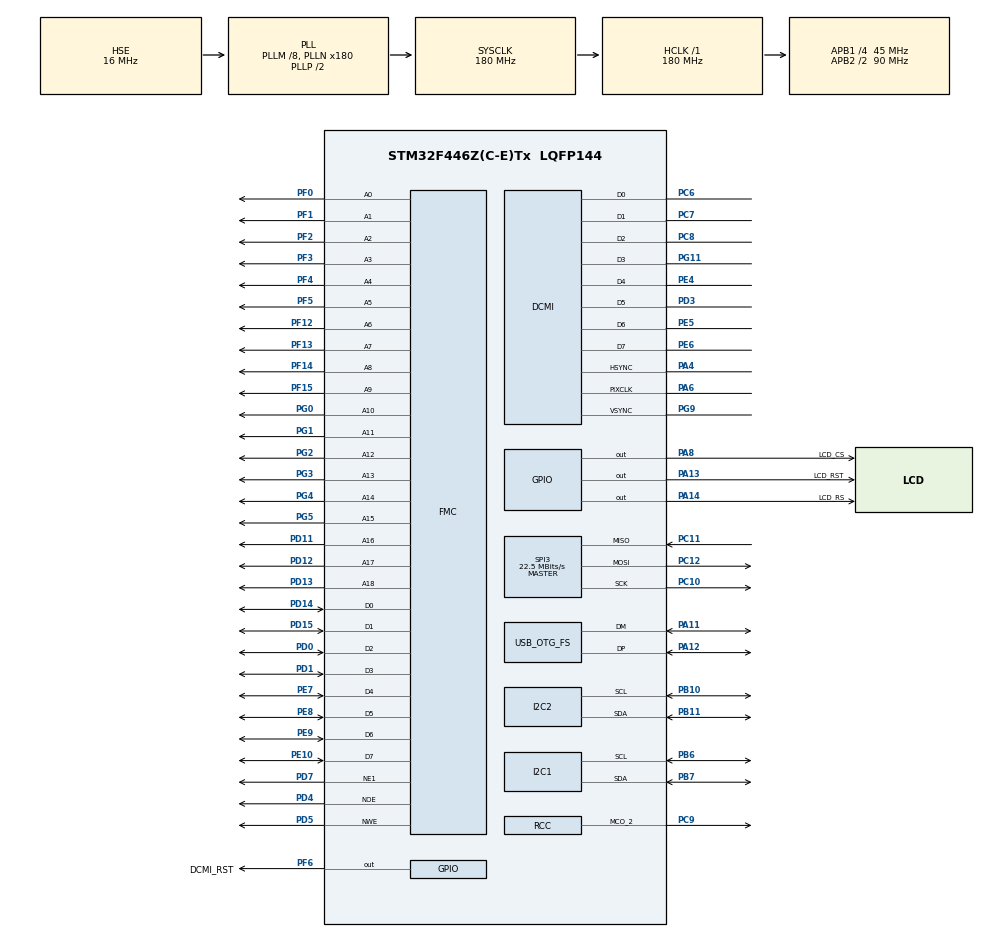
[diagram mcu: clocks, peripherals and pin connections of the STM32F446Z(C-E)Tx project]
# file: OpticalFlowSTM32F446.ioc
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DCMI.ByteSelectMode=DCMI_BSM_OTHER
DCMI.ByteSelectStart=DCMI_OEBS_EVEN
DCMI.HSPolarity=DCMI_HSPOLARITY_LOW
DCMI.JPEGMode=DCMI_JPEG_DISABLE
DCMI.LineSelectMode=DCMI_LSM_ALL
DCMI.PCKPolarity=DCMI_PCKPOLARITY_RISING
DCMI.VSPolarity=DCMI_VSPOLARITY_HIGH
Dma.DCMI.0.Direction=DMA_PERIPH_TO_MEMORY
Dma.DCMI.0.FIFOMode=DMA_FIFOMODE_ENABLE
Dma.DCMI.0.FIFOThreshold=DMA_FIFO_THRESHOLD_FULL
Dma.DCMI.0.Instance=DMA2_Stream1
Dma.DCMI.0.MemBurst=DMA_MBURST_INC4
Dma.DCMI.0.MemDataAlignment=DMA_MDATAALIGN_WORD
Dma.DCMI.0.MemInc=DMA_MINC_ENABLE
Dma.DCMI.0.Mode=DMA_CIRCULAR
Dma.DCMI.0.PeriphBurst=DMA_PBURST_SINGLE
Dma.DCMI.0.PeriphDataAlignment=DMA_PDATAALIGN_WORD
Dma.DCMI.0.PeriphInc=DMA_PINC_DISABLE
Dma.DCMI.0.Priority=DMA_PRIORITY_HIGH
Dma.Request0=DCMI
FMC.WriteOperation1=FMC_WRITE_OPERATION_ENABLE
I2C1.I2C_Mode=I2C_Standard
I2C2.I2C_Mode=I2C_Fast
I2C2.OwnAddress=0x58
Mcu.Family=STM32F4
Mcu.Name=STM32F446Z(C-E)Tx
Mcu.Package=LQFP144
NVIC.DCMI_IRQn=true\:0\:0\:false\:false\:true\:true\:true
NVIC.DMA2_Stream1_IRQn=true\:0\:0\:false\:false\:true\:false\:true
NVIC.I2C2_ER_IRQn=true\:0\:0\:false\:false\:true\:true\:true
NVIC.I2C2_EV_IRQn=true\:0\:0\:false\:false\:true\:true\:true
NVIC.OTG_FS_IRQn=true\:0\:0\:false\:false\:true\:false\:true
NVIC.PriorityGroup=NVIC_PRIORITYGROUP_4
NVIC.TIM4_IRQn=true\:0\:0\:false\:false\:true\:true\:true
PA11.Mode=Device_Only
PA11.Signal=USB_OTG_FS_DM
PA12.Mode=Device_Only
PA12.Signal=USB_OTG_FS_DP
PA13.GPIO_Label=LCD_RST
PA13.GPIO_ModeDefaultOutputPP=GPIO_MODE_OUTPUT_PP
PA13.PinState=GPIO_PIN_SET
PA13.Signal=GPIO_Output
PA14.GPIO_Label=LCD_RS
PA14.Signal=GPIO_Output
PA4.Mode=Slave_8_bits_External_Synchro
PA4.Signal=DCMI_HSYNC
PA6.Mode=Slave_8_bits_External_Synchro
PA6.Signal=DCMI_PIXCLK
PA8.GPIO_Label=LCD_CS
PA8.Signal=GPIO_Output
PB10.Mode=I2C
PB10.Signal=I2C2_SCL
PB11.Mode=I2C
PB11.Signal=I2C2_SDA
PB4.Signal=I2C3_SDA
PB6.Mode=I2C
PB6.Signal=I2C1_SCL
PB7.Mode=I2C
PB7.Signal=I2C1_SDA
PC10.Mode=Full_Duplex_Master
PC10.Signal=SPI3_SCK
PC11.Mode=Full_Duplex_Master
PC11.Signal=SPI3_MISO
PC12.Mode=Full_Duplex_Master
PC12.Signal=SPI3_MOSI
PC6.Mode=Slave_8_bits_External_Synchro
PC6.Signal=DCMI_D0
PC7.Mode=Slave_8_bits_External_Synchro
PC7.Signal=DCMI_D1
PC8.Mode=Slave_8_bits_External_Synchro
PC8.Signal=DCMI_D2
PC9.Mode=Clock-out-2
PC9.Signal=RCC_MCO_2
PD0.Signal=FMC_D2_DA2
PD1.Signal=FMC_D3_DA3
PD11.Signal=FMC_A16_CLE
PD12.Signal=FMC_A17_ALE
PD13.Signal=FMC_A18
PD14.Signal=FMC_D0_DA0
PD15.Signal=FMC_D1_DA1
PD3.Mode=Slave_8_bits_External_Synchro
PD3.Signal=DCMI_D5
PD4.Signal=FMC_NOE
PD5.Signal=FMC_NWE
PD7.Mode=NorPsramChipSelect1_1
PD7.Signal=FMC_NE1
PE10.Signal=FMC_D7_DA7
PE4.Mode=Slave_8_bits_External_Synchro
PE4.Signal=DCMI_D4
PE5.Mode=Slave_8_bits_External_Synchro
PE5.Signal=DCMI_D6
PE6.Mode=Slave_8_bits_External_Synchro
PE6.Signal=DCMI_D7
PE7.Signal=FMC_D4_DA4
PE8.Signal=FMC_D5_DA5
PE9.Signal=FMC_D6_DA6
PF0.Signal=FMC_A0
PF1.Signal=FMC_A1
PF12.Signal=FMC_A6
PF13.Signal=FMC_A7
PF14.Signal=FMC_A8
PF15.Signal=FMC_A9
PF2.Signal=FMC_A2
PF3.Signal=FMC_A3
PF4.Signal=FMC_A4
PF5.Signal=FMC_A5
PF6.GPIO_Label=DCMI_RST
PF6.Signal=GPIO_Output
PG0.Signal=FMC_A10
PG1.Signal=FMC_A11
PG11.Mode=Slave_8_bits_External_Synchro
PG11.Signal=DCMI_D3
PG2.Signal=FMC_A12
PG3.Signal=FMC_A13
PG4.Signal=FMC_A14_BA0
PG5.Signal=FMC_A15_BA1
PG9.Mode=Slave_8_bits_External_Synchro
PG9.Signal=DCMI_VSYNC
PH0-OSC_IN.Mode=HSE-External-Oscillator
PH0-OSC_IN.Signal=RCC_OSC_IN
PH1-OSC_OUT.Mode=HSE-External-Oscillator
PH1-OSC_OUT.Signal=RCC_OSC_OUT
ProjectManager.HeapSize=0x400
ProjectManager.StackSize=0x400
ProjectManager.TargetToolchain=STM32CubeIDE
RCC.AHBFreq_Value=180000000
RCC.APB1CLKDivider=RCC_HCLK_DIV4
RCC.APB1Freq_Value=45000000
RCC.APB1TimFreq_Value=90000000
RCC.APB2CLKDivider=RCC_HCLK_DIV2
RCC.APB2Freq_Value=90000000
RCC.APB2TimFreq_Value=180000000
RCC.CortexFreq_Value=180000000
RCC.HCLKFreq_Value=180000000
RCC.HSE_VALUE=16000000
RCC.PLLM=8
RCC.PLLN=180
RCC.PLLQ=4
RCC.PLLSAIP=RCC_PLLSAIP_DIV4
RCC.PLLSourceVirtual=RCC_PLLSOURCE_HSE
RCC.RCC_MCO2Source=RCC_MCO2SOURCE_HSE
RCC.SYSCLKFreq_VALUE=180000000
RCC.SYSCLKSource=RCC_SYSCLKSOURCE_PLLCLK
RCC.USBCLockSelection=RCC_CLK48CLKSOURCE_PLLSAIP
RCC.USBFreq_Value=48000000
RCC.VCOOutputFreq_Value=360000000
SH.FMC_A0.0=FMC_A0,19b-a1
SH.FMC_A1.0=FMC_A1,19b-a1
SH.FMC_A10.0=FMC_A10,19b-a1
SH.FMC_A11.0=FMC_A11,19b-a1
SH.FMC_A12.0=FMC_A12,19b-a1
SH.FMC_A13.0=FMC_A13,19b-a1
SH.FMC_A14_BA0.0=FMC_A14,19b-a1
SH.FMC_A15_BA1.0=FMC_A15,19b-a1
SH.FMC_A16_CLE.0=FMC_A16,19b-a1
SH.FMC_A17_ALE.0=FMC_A17,19b-a1
SH.FMC_A18.0=FMC_A18,19b-a1
SH.FMC_A2.0=FMC_A2,19b-a1
SH.FMC_A3.0=FMC_A3,19b-a1
SH.FMC_A4.0=FMC_A4,19b-a1
SH.FMC_A5.0=FMC_A5,19b-a1
SH.FMC_A6.0=FMC_A6,19b-a1
SH.FMC_A7.0=FMC_A7,19b-a1
SH.FMC_A8.0=FMC_A8,19b-a1
SH.FMC_A9.0=FMC_A9,19b-a1
SH.FMC_D0_DA0.0=FMC_D0,8b-d1
SH.FMC_D1_DA1.0=FMC_D1,8b-d1
SH.FMC_D2_DA2.0=FMC_D2,8b-d1
SH.FMC_D3_DA3.0=FMC_D3,8b-d1
SH.FMC_D4_DA4.0=FMC_D4,8b-d1
SH.FMC_D5_DA5.0=FMC_D5,8b-d1
SH.FMC_D6_DA6.0=FMC_D6,8b-d1
SH.FMC_D7_DA7.0=FMC_D7,8b-d1
SH.FMC_NOE.0=FMC_NOE,Sram1
SH.FMC_NWE.0=FMC_NWE,Sram1
SPI3.BaudRatePrescaler=SPI_BAUDRATEPRESCALER_2
SPI3.CalculateBaudRate=22.5 MBits/s
SPI3.Direction=SPI_DIRECTION_2LINES
SPI3.Mode=SPI_MODE_MASTER
SPI3.VirtualType=VM_MASTER
TIM4.Period=64999
TIM4.Prescaler=89
TIM9.Period=65000
TIM9.Prescaler=179
USB_DEVICE.CLASS_NAME_FS=CDC
USB_DEVICE.VirtualMode-CDC_FS=Cdc
USB_DEVICE.VirtualModeFS=Cdc_FS
USB_OTG_FS.VirtualMode=Device_Only
VP_TIM4_VS_ClockSourceINT.Mode=Internal
VP_TIM9_VS_ClockSourceINT.Mode=Internal
VP_USB_DEVICE_VS_USB_DEVICE_CDC_FS.Mode=CDC_FS
board=custom

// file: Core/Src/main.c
/* USER CODE BEGIN Header */
/**
  ******************************************************************************
  * @file           : main.c
  * @brief          : Main program body
  ******************************************************************************
  * @attention
  *
  * <h2><center>&copy; Copyright (c) 2021 STMicroelectronics.
  * All rights reserved.</center></h2>
  *
  * This software component is licensed by ST under Ultimate Liberty license
  * SLA0044, the "License"; You may not use this file except in compliance with
  * the License. You may obtain a copy of the License at:
  *                             www.st.com/SLA0044
  *
  ******************************************************************************
  */
/* USER CODE END Header */
#include "main.h"
#include "usb_device.h"

/* USER CODE BEGIN Includes */

#include "ST7735.h"
#include "GFX_FUNCTIONS.h"
#include "fonts.h"
#include "ov7670.h"
#include "i2c_sw.h"
#include "usbd_cdc_if.h"
/* USER CODE END Includes */

DCMI_HandleTypeDef hdcmi;
DMA_HandleTypeDef hdma_dcmi;

I2C_HandleTypeDef hi2c1;
I2C_HandleTypeDef hi2c2;

SPI_HandleTypeDef hspi3;

TIM_HandleTypeDef htim4;
TIM_HandleTypeDef htim9;

SRAM_HandleTypeDef hsram1;

/* USER CODE BEGIN PV */

volatile uint8_t frame_captured_flag = 0;

uint32_t captured_frames = 0;
int32_t framerate = 0;
uint32_t framerate_timer;
volatile uint32_t millis_timer_base;

uint8_t frame_index = 0;
uint8_t *current_frame;
uint8_t *last_frame;

int32_t x_histogram1[200];
int32_t x_histogram2[200];
int32_t y_histogram1[200];
int32_t y_histogram2[200];

int32_t *x_histogram;
int32_t *x_histogram_prev;
int32_t *y_histogram;
int32_t *y_histogram_prev;

int32_t sobel_sum_x;
int32_t sobel_sum_y;
int32_t total_sum;

uint8_t command_packet[32];	//From FC to me
uint8_t response_packet[32];//From me to FC

uint8_t i2c_receive_flag = 0;
uint8_t telem_i2c_send_done = 1;

/* USER CODE END PV */

void SystemClock_Config(void);
static void MX_GPIO_Init(void);
static void MX_DMA_Init(void);
static void MX_DCMI_Init(void);
static void MX_FMC_Init(void);
static void MX_I2C2_Init(void);
static void MX_SPI3_Init(void);
static void MX_TIM9_Init(void);
static void MX_I2C1_Init(void);
static void MX_TIM4_Init(void);

int main(void)
{

  /* MCU Configuration--------------------------------------------------------*/

  /* Reset of all peripherals, Initializes the Flash interface and the Systick. */
  HAL_Init();

  /* USER CODE BEGIN Init */

  HAL_Delay(2000);

  /* USER CODE END Init */

  /* Configure the system clock */
  SystemClock_Config();

  /* Initialize all configured peripherals */
  MX_GPIO_Init();
  MX_DMA_Init();
  MX_DCMI_Init();
  MX_FMC_Init();
  MX_I2C2_Init();
  MX_SPI3_Init();
  MX_TIM9_Init();
  MX_I2C1_Init();
  MX_TIM4_Init();
  MX_USB_DEVICE_Init();
  /* USER CODE BEGIN 2 */
  current_frame = frame1;
  last_frame = frame2;

  for(int i = 0; i < 32; i++)
  {
	  response_packet[i] = 0;
  }

  HAL_TIM_Base_Start(&htim9);
  HAL_TIM_Base_Start_IT(&htim4);
  //SW_I2C_initial();
  //i2c_port_initial(SW_I2C1);
  HAL_GPIO_WritePin(DCMI_RST_GPIO_Port, DCMI_RST_Pin, GPIO_PIN_RESET);
  HAL_Delay(500);

  //ST7735_Init(0);
  //fillScreen(BLACK);

  //fillScreen(GREEN);
  //fillScreen(BLACK);
  //testAll();
  HAL_GPIO_WritePin(DCMI_RST_GPIO_Port, DCMI_RST_Pin, GPIO_PIN_SET);
  HAL_GPIO_WritePin(LCD_RST_GPIO_Port, LCD_RST_Pin, GPIO_PIN_RESET);
  HAL_Delay(200);
  Camera_Init();
  HAL_Delay(500);
  HAL_DCMI_ConfigCrop(&hdcmi, 8, 8, 256, 128);
  HAL_DCMI_EnableCrop(&hdcmi);
  //HAL_DCMI_Start_DMA(&hdcmi, DCMI_MODE_SNAPSHOT, (uint32_t)0x60000000, (256*128));
  HAL_DCMI_Start_DMA(&hdcmi, DCMI_MODE_SNAPSHOT, (uint32_t)current_frame, (128*128));

  /* USER CODE END 2 */

  /* Infinite loop */
  /* USER CODE BEGIN WHILE */
  while (1)
  {
	  if(HAL_I2C_EnableListen_IT(&hi2c2) != HAL_OK)
	  {
		  //fail
	  }

	  if(frame_captured_flag)
	  {
		  frame_captured_flag = 0;
		  captured_frames++;
		  HAL_DCMI_Suspend(&hdcmi);
		  HAL_DCMI_Stop(&hdcmi);

		  HAL_DCMI_Start_DMA(&hdcmi, DCMI_MODE_SNAPSHOT, (uint32_t)last_frame, (128*128));

		  sobel_sum_x = 0;
		  sobel_sum_y = 0;

		  x_histogram[0] = 0;
		  y_histogram[0] = 0;
		  x_histogram[127] = 0;
		  y_histogram[95] = 0;

		  x_histogram_prev[0] = 0;
		  y_histogram_prev[0] = 0;
		  x_histogram_prev[127] = 0;
		  y_histogram_prev[95] = 0;

		  for(uint32_t y = 1; y < 95; y++)
		  {
			  y_histogram[y] = 0;
		  }

		  for(uint32_t x = 1; x < 127; x++)
		  {
			  x_histogram[x] = 0;

			  for(uint32_t y = 1; y < 95; y++)
			  {
				  sobel_sum_x = 0;
				  sobel_sum_y = 0;

				  sobel_sum_x -= current_frame[x - 1 + (y * 128)];
				  sobel_sum_x += current_frame[x + 1 + (y * 128)];

				  sobel_sum_x = abs(sobel_sum_x);

				  sobel_sum_y -= current_frame[x + ((y - 1) * 128)];
				  sobel_sum_y += current_frame[x + ((y + 1) * 128)];

				  sobel_sum_y = abs(sobel_sum_y);

				  total_sum = (sobel_sum_x * sobel_sum_x) + (sobel_sum_y * sobel_sum_y);

				  //frame3[x + (y * 128)] = 0;

				  if(total_sum > 1600)
				  {
					  x_histogram[x] += total_sum;
					  y_histogram[y] += total_sum;
					  //frame3[x + (y * 128)] = total_sum;
				  }

				  if(sobel_sum_x > 40)
				  {
					  //x_histogram[x] += sobel_sum_x;
					  //frame3[x + (y * 128)] = sobel_sum_x;
				  }

				  if(sobel_sum_y > 40)
				  {
					  //y_histogram[y] += sobel_sum_y;

					  //if(sobel_sum_y > frame3[x + (y * 128)])
						//  frame3[x + (y * 128)] = sobel_sum_y;
				  }
			  }
		  }

		  /*for(uint32_t y = 1; y < 95; y++)
		  {
			  y_histogram[y] = 0;

			  for(uint32_t x = 0; x < 128; x++)
			  {
				  sobel_sum_y = 0;

				  sobel_sum_y -= current_frame[x - 1 + ((y - 1) * 128)];
				  sobel_sum_y += current_frame[x + 1 + ((y + 1) * 128)];

				  sobel_sum_y = abs(sobel_sum_y);

				  //frame3[x + (y * 128)] = 0;

				  if(sobel_sum_y > 60)
				  {
					  y_histogram[y] += sobel_sum_y;
					  //frame3[x + (y * 128)] = 0xFF;
					  //intensity = 0xFF;
				  }
			  }
		  }*/

		  int32_t average_displacement_x = 0;
		  int32_t average_displacement_y = 0;

		  int32_t temp_displacement_x[200];
		  int32_t temp_displacement_y[200];
		  uint32_t SAD_temp[21];
		  int32_t border[2];

		  int32_t largest_displacement_x = 0;

		  border[0] = 19;
		  border[1] = 108;

		  for(int32_t x = border[0]; x < border[1]; x++)
		  {
			  temp_displacement_x[x] = 0;

			  for(int32_t c = -10; c <= 10; c++)
			  {
				  SAD_temp[c + 10] = 0;

				  for(int32_t r = -9; r <= 9; r++)
				  {
					  SAD_temp[c + 10] += abs(x_histogram[x+r] - x_histogram_prev[x+r+c]);

				  }
			  }

			  temp_displacement_x[x] = (int32_t)getMinimum(SAD_temp, 21) - 10;
			  average_displacement_x += temp_displacement_x[x];

			  //if(temp_displacement_x[x] > largest_displacement_x)
			//	  largest_displacement_x = temp_displacement_x[x];
		  }

		  average_displacement_x /= (border[1] - border[0]);

		  border[0] = 28;
		  border[1] = 68;

		  for(int32_t y = border[0]; y < border[1]; y++)
		  {
			  temp_displacement_y[y] = 0;

			  for(int32_t c = -10; c <= 10; c++)
			  {
				  SAD_temp[c + 10] = 0;

				  for(int32_t r = -9; r <= 9; r++)
				  {
					  SAD_temp[c + 10] += abs(y_histogram[y+r] - y_histogram_prev[y+r+c]);

				  }
			  }

			  temp_displacement_y[y] = (int32_t)getMinimum(SAD_temp, 21) - 10;
			  average_displacement_y += temp_displacement_y[y];

			  //if(temp_displacement_x[x] > largest_displacement_x)
				  //	  largest_displacement_x = temp_displacement_x[x];
		  }

		  average_displacement_y /= (border[1] - border[0]);

		  //fillScreen(BLACK);

		  /*ST7735_Select();

		  ST7735_SetAddressWindow(0, 0, 127, 127);
		  HAL_GPIO_WritePin(LCD_RS_GPIO_Port, LCD_RS_Pin, GPIO_PIN_SET);
		  uint8_t *memread = (uint8_t *)(uint32_t)0x60000000;

		  for(int y = 0; y < 128; y++)
		  {
			  for(int x = 0; x < 128; x++)
			  {
				  //uint8_t intensity = memread[x + (y * 128)];
				  uint8_t intensity = test_frame[x + (y * 128)];

				  uint8_t red_channel = intensity;
				  uint8_t green_channel = intensity;
				  uint8_t blue_channel = intensity;

				  uint16_t color_to_send2 = ((red_channel & 0xF8) << 8) | ((green_channel & 0xFC) << 3) | ((blue_channel & 0xF8) >> 3);
				  uint8_t data[] = { color_to_send2 >> 8, color_to_send2 & 0xFF };

				  HAL_SPI_Transmit(&ST7735_SPI_PORT, data, sizeof(data), HAL_MAX_DELAY);
			  }
		  }*/

		  response_packet[0] = 1;	//Use to detect if i2c happened during this loop

		  for(int i = 0; i < 4; i++)
		  {
			  response_packet[i+1] = *(((uint8_t *)&average_displacement_x) + i);
			  response_packet[i+5] = *(((uint8_t *)&average_displacement_y) + i);
			  response_packet[i+9] = *(((uint8_t *)&framerate) + i);
		  }

		  response_packet[0] = 0;

		  //CDC_Transmit_FS(current_frame, 128*128);
		  //HAL_Delay(175);

		  //HAL_DCMI_Start_DMA(&hdcmi, DCMI_MODE_SNAPSHOT, (uint32_t)last_frame, (128*128));

		  if(frame_index == 0)
		  {
			  last_frame = frame2;
			  current_frame = frame1;

			  x_histogram_prev = x_histogram2;
			  y_histogram_prev = y_histogram2;

			  x_histogram = x_histogram1;
			  y_histogram = y_histogram1;
		  }
		  else if(frame_index == 1)
		  {
			  last_frame = frame1;
			  current_frame = frame2;

			  x_histogram_prev = x_histogram1;
			  y_histogram_prev = y_histogram1;

			  x_histogram = x_histogram2;
			  y_histogram = y_histogram2;
		  }

		  frame_index++;

		  if(frame_index > 1)
			  frame_index = 0;

		  //HAL_DCMI_Start_DMA(&hdcmi, DCMI_MODE_SNAPSHOT, (uint32_t)0x60000000, (256*128));

		  //ST7735_Unselect();
	  }

	  if(GetMillisDifference(&framerate_timer) >= 1000)
	  {
		  framerate_timer = GetMillis();
		  framerate = captured_frames;
		  //fillScreen(BLACK);
		  //sprintf((char *)temp_data_line, "%lu", captured_frames);
		  //ST7735_WriteString(0, 0, (char *)temp_data_line, Font_11x18, RED,BLACK);

		  captured_frames = 0;
	  }

    /* USER CODE END WHILE */

  }
}

void SystemClock_Config(void)
{
  RCC_OscInitTypeDef RCC_OscInitStruct = {0};
  RCC_ClkInitTypeDef RCC_ClkInitStruct = {0};
  RCC_PeriphCLKInitTypeDef PeriphClkInitStruct = {0};

  /** Configure the main internal regulator output voltage
  */
  __HAL_RCC_PWR_CLK_ENABLE();
  __HAL_PWR_VOLTAGESCALING_CONFIG(PWR_REGULATOR_VOLTAGE_SCALE1);
  /** Initializes the RCC Oscillators according to the specified parameters
  * in the RCC_OscInitTypeDef structure.
  */
  RCC_OscInitStruct.OscillatorType = RCC_OSCILLATORTYPE_HSE;
  RCC_OscInitStruct.HSEState = RCC_HSE_ON;
  RCC_OscInitStruct.PLL.PLLState = RCC_PLL_ON;
  RCC_OscInitStruct.PLL.PLLSource = RCC_PLLSOURCE_HSE;
  RCC_OscInitStruct.PLL.PLLM = 8;
  RCC_OscInitStruct.PLL.PLLN = 180;
  RCC_OscInitStruct.PLL.PLLP = RCC_PLLP_DIV2;
  RCC_OscInitStruct.PLL.PLLQ = 4;
  RCC_OscInitStruct.PLL.PLLR = 2;
  if (HAL_RCC_OscConfig(&RCC_OscInitStruct) != HAL_OK)
  {
    Error_Handler();
  }
  /** Activate the Over-Drive mode
  */
  if (HAL_PWREx_EnableOverDrive() != HAL_OK)
  {
    Error_Handler();
  }
  /** Initializes the CPU, AHB and APB buses clocks
  */
  RCC_ClkInitStruct.ClockType = RCC_CLOCKTYPE_HCLK|RCC_CLOCKTYPE_SYSCLK
                              |RCC_CLOCKTYPE_PCLK1|RCC_CLOCKTYPE_PCLK2;
  RCC_ClkInitStruct.SYSCLKSource = RCC_SYSCLKSOURCE_PLLCLK;
  RCC_ClkInitStruct.AHBCLKDivider = RCC_SYSCLK_DIV1;
  RCC_ClkInitStruct.APB1CLKDivider = RCC_HCLK_DIV4;
  RCC_ClkInitStruct.APB2CLKDivider = RCC_HCLK_DIV2;

  if (HAL_RCC_ClockConfig(&RCC_ClkInitStruct, FLASH_LATENCY_5) != HAL_OK)
  {
    Error_Handler();
  }
  PeriphClkInitStruct.PeriphClockSelection = RCC_PERIPHCLK_CLK48;
  PeriphClkInitStruct.PLLSAI.PLLSAIM = 16;
  PeriphClkInitStruct.PLLSAI.PLLSAIN = 192;
  PeriphClkInitStruct.PLLSAI.PLLSAIQ = 2;
  PeriphClkInitStruct.PLLSAI.PLLSAIP = RCC_PLLSAIP_DIV4;
  PeriphClkInitStruct.PLLSAIDivQ = 1;
  PeriphClkInitStruct.Clk48ClockSelection = RCC_CLK48CLKSOURCE_PLLSAIP;
  if (HAL_RCCEx_PeriphCLKConfig(&PeriphClkInitStruct) != HAL_OK)
  {
    Error_Handler();
  }
  HAL_RCC_MCOConfig(RCC_MCO2, RCC_MCO2SOURCE_HSE, RCC_MCODIV_1);
}

static void MX_DCMI_Init(void)
{

  /* USER CODE BEGIN DCMI_Init 0 */

	hdma_dcmi.Instance = DMA2_Stream1;
	hdcmi.DMA_Handle = &hdma_dcmi;

  /* USER CODE END DCMI_Init 0 */

  hdcmi.Instance = DCMI;
  hdcmi.Init.SynchroMode = DCMI_SYNCHRO_HARDWARE;
  hdcmi.Init.PCKPolarity = DCMI_PCKPOLARITY_RISING;
  hdcmi.Init.VSPolarity = DCMI_VSPOLARITY_HIGH;
  hdcmi.Init.HSPolarity = DCMI_HSPOLARITY_LOW;
  hdcmi.Init.CaptureRate = DCMI_CR_ALL_FRAME;
  hdcmi.Init.ExtendedDataMode = DCMI_EXTEND_DATA_8B;
  hdcmi.Init.JPEGMode = DCMI_JPEG_DISABLE;
  hdcmi.Init.ByteSelectMode = DCMI_BSM_OTHER;
  hdcmi.Init.ByteSelectStart = DCMI_OEBS_EVEN;
  hdcmi.Init.LineSelectMode = DCMI_LSM_ALL;
  hdcmi.Init.LineSelectStart = DCMI_OELS_ODD;
  if (HAL_DCMI_Init(&hdcmi) != HAL_OK)
  {
    Error_Handler();
  }

}

static void MX_I2C1_Init(void)
{

  hi2c1.Instance = I2C1;
  hi2c1.Init.ClockSpeed = 100000;
  hi2c1.Init.DutyCycle = I2C_DUTYCYCLE_2;
  hi2c1.Init.OwnAddress1 = 0;
  hi2c1.Init.AddressingMode = I2C_ADDRESSINGMODE_7BIT;
  hi2c1.Init.DualAddressMode = I2C_DUALADDRESS_DISABLE;
  hi2c1.Init.OwnAddress2 = 0;
  hi2c1.Init.GeneralCallMode = I2C_GENERALCALL_DISABLE;
  hi2c1.Init.NoStretchMode = I2C_NOSTRETCH_DISABLE;
  if (HAL_I2C_Init(&hi2c1) != HAL_OK)
  {
    Error_Handler();
  }

}

static void MX_I2C2_Init(void)
{

  hi2c2.Instance = I2C2;
  hi2c2.Init.ClockSpeed = 400000;
  hi2c2.Init.DutyCycle = I2C_DUTYCYCLE_2;
  hi2c2.Init.OwnAddress1 = 176;
  hi2c2.Init.AddressingMode = I2C_ADDRESSINGMODE_7BIT;
  hi2c2.Init.DualAddressMode = I2C_DUALADDRESS_DISABLE;
  hi2c2.Init.OwnAddress2 = 0;
  hi2c2.Init.GeneralCallMode = I2C_GENERALCALL_DISABLE;
  hi2c2.Init.NoStretchMode = I2C_NOSTRETCH_DISABLE;
  if (HAL_I2C_Init(&hi2c2) != HAL_OK)
  {
    Error_Handler();
  }

}

static void MX_SPI3_Init(void)
{

  /* SPI3 parameter configuration*/
  hspi3.Instance = SPI3;
  hspi3.Init.Mode = SPI_MODE_MASTER;
  hspi3.Init.Direction = SPI_DIRECTION_2LINES;
  hspi3.Init.DataSize = SPI_DATASIZE_8BIT;
  hspi3.Init.CLKPolarity = SPI_POLARITY_LOW;
  hspi3.Init.CLKPhase = SPI_PHASE_1EDGE;
  hspi3.Init.NSS = SPI_NSS_SOFT;
  hspi3.Init.BaudRatePrescaler = SPI_BAUDRATEPRESCALER_2;
  hspi3.Init.FirstBit = SPI_FIRSTBIT_MSB;
  hspi3.Init.TIMode = SPI_TIMODE_DISABLE;
  hspi3.Init.CRCCalculation = SPI_CRCCALCULATION_DISABLE;
  hspi3.Init.CRCPolynomial = 10;
  if (HAL_SPI_Init(&hspi3) != HAL_OK)
  {
    Error_Handler();
  }

}

static void MX_TIM4_Init(void)
{

  TIM_ClockConfigTypeDef sClockSourceConfig = {0};
  TIM_MasterConfigTypeDef sMasterConfig = {0};

  htim4.Instance = TIM4;
  htim4.Init.Prescaler = 89;
  htim4.Init.CounterMode = TIM_COUNTERMODE_UP;
  htim4.Init.Period = 64999;
  htim4.Init.ClockDivision = TIM_CLOCKDIVISION_DIV1;
  htim4.Init.AutoReloadPreload = TIM_AUTORELOAD_PRELOAD_DISABLE;
  if (HAL_TIM_Base_Init(&htim4) != HAL_OK)
  {
    Error_Handler();
  }
  sClockSourceConfig.ClockSource = TIM_CLOCKSOURCE_INTERNAL;
  if (HAL_TIM_ConfigClockSource(&htim4, &sClockSourceConfig) != HAL_OK)
  {
    Error_Handler();
  }
  sMasterConfig.MasterOutputTrigger = TIM_TRGO_RESET;
  sMasterConfig.MasterSlaveMode = TIM_MASTERSLAVEMODE_DISABLE;
  if (HAL_TIMEx_MasterConfigSynchronization(&htim4, &sMasterConfig) != HAL_OK)
  {
    Error_Handler();
  }

}

static void MX_TIM9_Init(void)
{

  TIM_ClockConfigTypeDef sClockSourceConfig = {0};

  htim9.Instance = TIM9;
  htim9.Init.Prescaler = 179;
  htim9.Init.CounterMode = TIM_COUNTERMODE_UP;
  htim9.Init.Period = 65000;
  htim9.Init.ClockDivision = TIM_CLOCKDIVISION_DIV1;
  htim9.Init.AutoReloadPreload = TIM_AUTORELOAD_PRELOAD_DISABLE;
  if (HAL_TIM_Base_Init(&htim9) != HAL_OK)
  {
    Error_Handler();
  }
  sClockSourceConfig.ClockSource = TIM_CLOCKSOURCE_INTERNAL;
  if (HAL_TIM_ConfigClockSource(&htim9, &sClockSourceConfig) != HAL_OK)
  {
    Error_Handler();
  }

}

static void MX_DMA_Init(void)
{

  /* DMA controller clock enable */
  __HAL_RCC_DMA2_CLK_ENABLE();

  /* DMA interrupt init */
  /* DMA2_Stream1_IRQn interrupt configuration */
  HAL_NVIC_SetPriority(DMA2_Stream1_IRQn, 0, 0);
  HAL_NVIC_EnableIRQ(DMA2_Stream1_IRQn);

}

/* FMC initialization function */
static void MX_FMC_Init(void)
{

  FMC_NORSRAM_TimingTypeDef Timing = {0};

  /** Perform the SRAM1 memory initialization sequence
  */
  hsram1.Instance = FMC_NORSRAM_DEVICE;
  hsram1.Extended = FMC_NORSRAM_EXTENDED_DEVICE;
  /* hsram1.Init */
  hsram1.Init.NSBank = FMC_NORSRAM_BANK1;
  hsram1.Init.DataAddressMux = FMC_DATA_ADDRESS_MUX_DISABLE;
  hsram1.Init.MemoryType = FMC_MEMORY_TYPE_SRAM;
  hsram1.Init.MemoryDataWidth = FMC_NORSRAM_MEM_BUS_WIDTH_8;
  hsram1.Init.BurstAccessMode = FMC_BURST_ACCESS_MODE_DISABLE;
  hsram1.Init.WaitSignalPolarity = FMC_WAIT_SIGNAL_POLARITY_LOW;
  hsram1.Init.WaitSignalActive = FMC_WAIT_TIMING_BEFORE_WS;
  hsram1.Init.WriteOperation = FMC_WRITE_OPERATION_ENABLE;
  hsram1.Init.WaitSignal = FMC_WAIT_SIGNAL_DISABLE;
  hsram1.Init.ExtendedMode = FMC_EXTENDED_MODE_DISABLE;
  hsram1.Init.AsynchronousWait = FMC_ASYNCHRONOUS_WAIT_DISABLE;
  hsram1.Init.WriteBurst = FMC_WRITE_BURST_DISABLE;
  hsram1.Init.ContinuousClock = FMC_CONTINUOUS_CLOCK_SYNC_ONLY;
  hsram1.Init.WriteFifo = FMC_WRITE_FIFO_ENABLE;
  hsram1.Init.PageSize = FMC_PAGE_SIZE_NONE;
  /* Timing */
  Timing.AddressSetupTime = 15;
  Timing.AddressHoldTime = 15;
  Timing.DataSetupTime = 255;
  Timing.BusTurnAroundDuration = 15;
  Timing.CLKDivision = 16;
  Timing.DataLatency = 17;
  Timing.AccessMode = FMC_ACCESS_MODE_A;
  /* ExtTiming */

  if (HAL_SRAM_Init(&hsram1, &Timing, NULL) != HAL_OK)
  {
    Error_Handler( );
  }

}

static void MX_GPIO_Init(void)
{
  GPIO_InitTypeDef GPIO_InitStruct = {0};

  /* GPIO Ports Clock Enable */
  __HAL_RCC_GPIOE_CLK_ENABLE();
  __HAL_RCC_GPIOF_CLK_ENABLE();
  __HAL_RCC_GPIOH_CLK_ENABLE();
  __HAL_RCC_GPIOA_CLK_ENABLE();
  __HAL_RCC_GPIOG_CLK_ENABLE();
  __HAL_RCC_GPIOB_CLK_ENABLE();
  __HAL_RCC_GPIOD_CLK_ENABLE();
  __HAL_RCC_GPIOC_CLK_ENABLE();

  /*Configure GPIO pin Output Level */
  HAL_GPIO_WritePin(DCMI_RST_GPIO_Port, DCMI_RST_Pin, GPIO_PIN_RESET);

  /*Configure GPIO pin Output Level */
  HAL_GPIO_WritePin(GPIOA, LCD_CS_Pin|LCD_RS_Pin, GPIO_PIN_RESET);

  /*Configure GPIO pin Output Level */
  HAL_GPIO_WritePin(LCD_RST_GPIO_Port, LCD_RST_Pin, GPIO_PIN_SET);

  /*Configure GPIO pin : DCMI_RST_Pin */
  GPIO_InitStruct.Pin = DCMI_RST_Pin;
  GPIO_InitStruct.Mode = GPIO_MODE_OUTPUT_PP;
  GPIO_InitStruct.Pull = GPIO_NOPULL;
  GPIO_InitStruct.Speed = GPIO_SPEED_FREQ_LOW;
  HAL_GPIO_Init(DCMI_RST_GPIO_Port, &GPIO_InitStruct);

  /*Configure GPIO pin : PC9 */
  GPIO_InitStruct.Pin = GPIO_PIN_9;
  GPIO_InitStruct.Mode = GPIO_MODE_AF_PP;
  GPIO_InitStruct.Pull = GPIO_NOPULL;
  GPIO_InitStruct.Speed = GPIO_SPEED_FREQ_LOW;
  GPIO_InitStruct.Alternate = GPIO_AF0_MCO;
  HAL_GPIO_Init(GPIOC, &GPIO_InitStruct);

  /*Configure GPIO pins : LCD_CS_Pin LCD_RST_Pin LCD_RS_Pin */
  GPIO_InitStruct.Pin = LCD_CS_Pin|LCD_RST_Pin|LCD_RS_Pin;
  GPIO_InitStruct.Mode = GPIO_MODE_OUTPUT_PP;
  GPIO_InitStruct.Pull = GPIO_NOPULL;
  GPIO_InitStruct.Speed = GPIO_SPEED_FREQ_LOW;
  HAL_GPIO_Init(GPIOA, &GPIO_InitStruct);

  /*Configure GPIO pin : PB4 */
  GPIO_InitStruct.Pin = GPIO_PIN_4;
  GPIO_InitStruct.Mode = GPIO_MODE_AF_OD;
  GPIO_InitStruct.Pull = GPIO_PULLUP;
  GPIO_InitStruct.Speed = GPIO_SPEED_FREQ_VERY_HIGH;
  GPIO_InitStruct.Alternate = GPIO_AF4_I2C3;
  HAL_GPIO_Init(GPIOB, &GPIO_InitStruct);

}

/* USER CODE BEGIN 4 */

void HAL_I2C_AddrCallback(I2C_HandleTypeDef *hi2c, uint8_t TransferDirection, uint16_t AddrMatchCode)
{
	if(AddrMatchCode == (uint8_t)(0x58 << 1))
	{
		if(TransferDirection == I2C_DIRECTION_TRANSMIT)
		{
			if(HAL_I2C_Slave_Seq_Receive_IT(&hi2c2, (uint8_t *)command_packet, 32, I2C_FIRST_FRAME) != HAL_OK)
			{
				//fail
			}
		}
		else
		{
			if(HAL_I2C_Slave_Seq_Transmit_IT(&hi2c2, (uint8_t *)response_packet, 32, I2C_LAST_FRAME) != HAL_OK)
			{
				//fail
			}

			//HAL_GPIO_WritePin(LCD_RST_GPIO_Port, LCD_RST_Pin, GPIO_PIN_RESET);
		}
	}
}

void HAL_I2C_ListenCpltCallback(I2C_HandleTypeDef *hi2c)
{

}

void HAL_I2C_SlaveRxCpltCallback(I2C_HandleTypeDef *hi2c)
{
	i2c_receive_flag = 1;
}

void HAL_I2C_SlaveTxCpltCallback(I2C_HandleTypeDef *hi2c)
{
	telem_i2c_send_done = 1;
}

void HAL_I2C_ErrorCallback(I2C_HandleTypeDef *hi2c)
{
	if(hi2c == &hi2c2)
	{
		HAL_GPIO_WritePin(LCD_RST_GPIO_Port, LCD_RST_Pin, GPIO_PIN_SET);

		if(I2C1->SR1 & I2C_SR1_BERR)//Bus error
		{
			I2C1->SR1 &= ~(I2C_SR1_BERR);
		}
		else if(I2C1->SR1 & I2C_SR1_AF)//Ack fail
		{
			I2C1->SR1 &= ~(I2C_SR1_AF);
		}
	}
}

void HAL_DCMI_FrameEventCallback(DCMI_HandleTypeDef *hdcmi)
{
	frame_captured_flag = 1;
}

void HAL_TIM_PeriodElapsedCallback(TIM_HandleTypeDef *htim)
{
	if(htim == &htim4)
	{
		//micros_timer_base += 65000;//65536;
		millis_timer_base += 65;//Overflow doesn't matter unless board is running for more than 49 days
	}
}

uint32_t GetMicros()
{
	//return micros_timer_base + __HAL_TIM_GET_COUNTER(&htim4);
	return __HAL_TIM_GET_COUNTER(&htim4);
}

uint32_t GetMillis()
{
	return millis_timer_base + (GetMicros() / 1000);
}

uint32_t GetMillisDifference(uint32_t *timer_counter_to_use)
{
	return GetMillis() - *timer_counter_to_use;
}

uint32_t GetMicrosDifference(uint32_t *timer_counter_to_use)
{
	uint32_t current_micros = GetMicros();
	uint32_t micros_difference = 0;

	if(current_micros > *timer_counter_to_use)
	{
		micros_difference = current_micros - *timer_counter_to_use;
	}
	else if(current_micros < *timer_counter_to_use)
	{
		micros_difference = 65000 + current_micros - *timer_counter_to_use;
	}

	return micros_difference;
}

/* USER CODE END 4 */

void Error_Handler(void)
{
}

/************************ (C) COPYRIGHT STMicroelectronics *****END OF FILE****/
